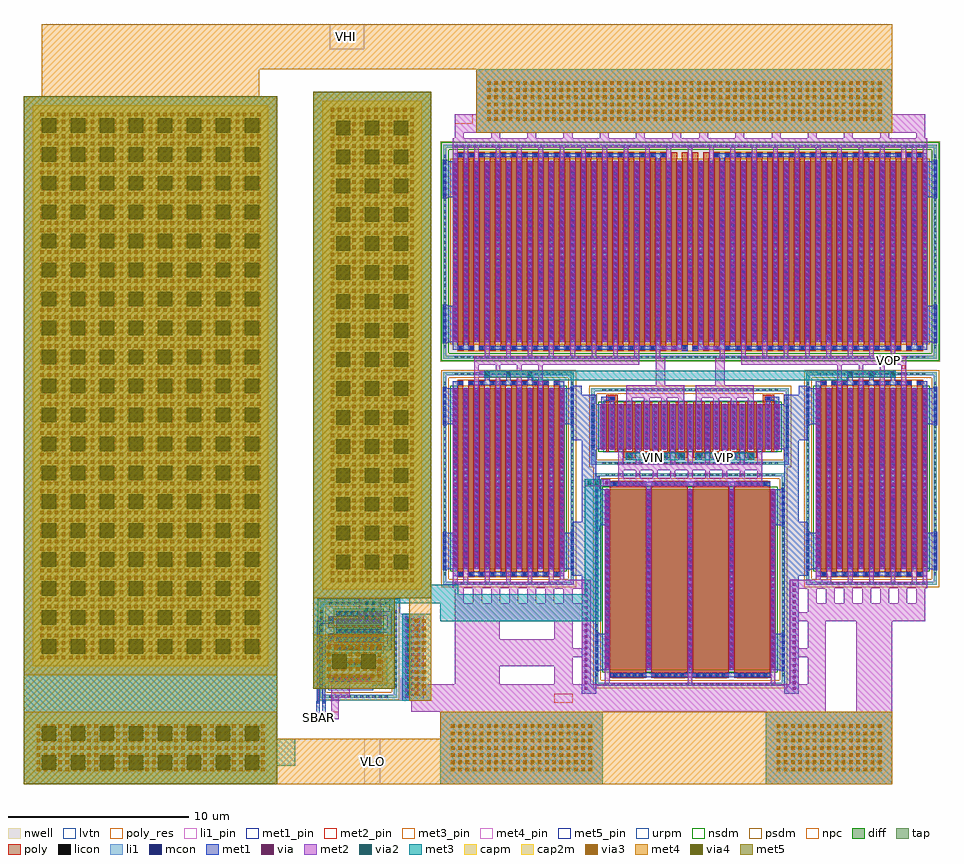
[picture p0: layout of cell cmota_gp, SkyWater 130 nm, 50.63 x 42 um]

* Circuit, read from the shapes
.subckt cmota_gp S SBAR VHI VIN VIP VLO VOP VREF
XM1 VLO S n1 VLO sky130_fd_pr__nfet_01v8 w=2.5 l=0.15 m=2
XM2 gated_iref_0/OUT SBAR n1 VLO sky130_fd_pr__nfet_01v8 w=2.5 l=0.15 m=2
XM3 VLO VLO VLO VLO sky130_fd_pr__nfet_01v8 w=10 l=0.3 m=4
XM4 n2 n2 VLO VLO sky130_fd_pr__nfet_01v8 w=10 l=0.3 m=8
XM5 VLO VLO VLO VLO sky130_fd_pr__nfet_01v8_lvt w=2.5 l=0.15 m=2
XM6 n3 gated_iref_0/OUT VLO VLO sky130_fd_pr__nfet_01v8 w=10 l=2 m=4
XM7 n3 VLO VLO VLO sky130_fd_pr__nfet_01v8_lvt w=2.5 l=0.15 m=2
XM8 n4 VIN n3 VLO sky130_fd_pr__nfet_01v8_lvt w=2.5 l=0.15 m=8
XM9 n5 VIP n3 VLO sky130_fd_pr__nfet_01v8_lvt w=2.5 l=0.15 m=8
XM10 VOP n2 VLO VLO sky130_fd_pr__nfet_01v8 w=10 l=0.3 m=8
XM11 VHI VHI VHI VHI sky130_fd_pr__pfet_01v8 w=10 l=0.3 m=4
XM12 n2 n4 VHI VHI sky130_fd_pr__pfet_01v8 w=10 l=0.3 m=16
XM13 n4 n4 VHI VHI sky130_fd_pr__pfet_01v8 w=10 l=0.3 m=4
XM14 n5 n5 VHI VHI sky130_fd_pr__pfet_01v8 w=10 l=0.3 m=4
XM15 VOP n5 VHI VHI sky130_fd_pr__pfet_01v8 w=10 l=0.3 m=16
XC16 VHI VLO sky130_fd_pr__cap_mim_m3_1 w=13 l=31
XC17 VLO VHI sky130_fd_pr__cap_mim_m3_2 w=13 l=31
XC18 VLO gated_iref_0/OUT sky130_fd_pr__cap_mim_m3_1 w=5.5 l=27
XC19 gated_iref_0/OUT VLO sky130_fd_pr__cap_mim_m3_2 w=5.5 l=27
XR20 VREF n1 VLO sky130_fd_pr__res_xhigh_po w=0.35 l=1.84
.ends

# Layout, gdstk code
from math import pi, radians
import gdstk
lib = gdstk.Library(unit=1e-6, precision=1e-09)
def R(c, l, rs):  # rectangles x0, y0, x1, y1
    for r in rs: c.add(gdstk.rectangle(r[:2], r[2:], *l))
def A(c, l, x, y, w, h, nx, ny, dx, dy):  # array of equal rectangles
    R(c, l, [(x+i*dx, y+j*dy, x+i*dx+w, y+j*dy+h) for i in range(nx) for j in range(ny)])
nwell = (64, 20)
diff = (65, 20)
tap = (65, 44)
poly_res = (66, 13)
poly = (66, 20)
licon = (66, 44)
li1_pin = (67, 16)
li1 = (67, 20)
mcon = (67, 44)
met1_pin = (68, 16)
met1 = (68, 20)
via = (68, 44)
met2_pin = (69, 16)
met2 = (69, 20)
via2 = (69, 44)
met3_pin = (70, 16)
met3 = (70, 20)
via3 = (70, 44)
met4_pin = (71, 16)
met4 = (71, 20)
via4 = (71, 44)
met5_pin = (72, 16)
met5 = (72, 20)
urpm = (79, 20)
capm = (89, 44)
nsdm = (93, 44)
psdm = (94, 20)
npc = (95, 20)
cap2m = (97, 44)
lvtn = (125, 44)

gated_iref = lib.new_cell('gated_iref')
R(gated_iref, diff, [(8.1,0.75,10.31,3.25)])
R(gated_iref, tap, [(5.51,-0.12,10.82,0.05), (5.51,0.05,5.68,3.95), (10.65,0.05,10.82,3.95), (5.51,3.95,10.82,4.12)])
R(gated_iref, poly_res, [(6.39,2.63,6.74,3.02), (7.22,2.63,7.57,3.02), (6.39,3.02,7.57,3.37)])
A(gated_iref, poly, 8.41, 0.64, 0.15, 2.74, 4, 1, 0.48, 0)
R(gated_iref, poly, [(8.41,0.31,9.04,0.64), (9.37,0.31,10,0.64), (6.39,0.53,6.74,3.02), (7.22,0.53,7.57,3.02), (6.39,3.02,7.57,3.37)])
A(gated_iref, licon, 6.09, -0.12, 0.17, 0.17, 13, 2, 0.34, 4.07)
A(gated_iref, licon, 5.51, 0.385, 0.17, 0.17, 1, 10, 0, 0.34)
A(gated_iref, licon, 10.65, 0.385, 0.17, 0.17, 1, 10, 0, 0.34)
A(gated_iref, licon, 8.16, 0.895, 0.17, 0.17, 5, 7, 0.48, 0.34)
R(gated_iref, licon, [(8.79,0.39,8.96,0.56), (9.75,0.39,9.92,0.56), (6.47,0.61,6.66,2.61), (7.3,0.61,7.49,2.61)])
R(gated_iref, li1_pin, [(5.34,4.31,6.62,4.4)])
A(gated_iref, li1, 9.12, 0.73, 0.17, 2.54, 3, 1, 0.48, 0)
R(gated_iref, li1, [(5.34,-0.29,10.99,0.05), (5.34,0.05,5.68,3.95), (10.65,0.05,10.99,3.95), (6.39,0.335,6.74,2.69), (7.22,0.335,8.33,0.59), (8.71,0.39,9.04,0.56), (9.67,0.39,10,0.56), (7.22,0.59,7.57,2.69), (8.16,0.59,8.33,3.27), (8.64,0.73,8.81,3.95), (5.34,3.95,10.99,4.29), (5.34,4.29,10.14,4.9)])
A(gated_iref, mcon, 6.48, 0.545, 0.17, 0.17, 1, 6, 0, 0.36)
A(gated_iref, mcon, 8.16, 0.835, 0.17, 0.17, 5, 7, 0.48, 0.36)
A(gated_iref, mcon, 5.495, 4.565, 0.17, 0.17, 13, 1, 0.36, 0)
R(gated_iref, mcon, [(8.79,0.39,8.96,0.56), (9.75,0.39,9.92,0.56)])
R(gated_iref, met1_pin, [(5.2,-0.31,5.32,-0.15), (5.2,0,5.32,0.16)])
A(gated_iref, met1, 8.13, 0.75, 0.23, 2.84, 3, 1, 0.96, 0)
R(gated_iref, met1, [(5.195,-0.315,9.77,-0.145), (9.6,-0.145,9.77,0.36), (5.19,-0.005,8.81,0.165), (8.64,0.165,8.81,0.36), (6.39,0.335,6.74,2.69), (8.64,0.36,9.04,0.59), (9.6,0.36,10,0.59), (9.555,0.745,9.815,3.25), (8.61,0.75,8.84,3.25), (8.13,3.59,10.28,3.79), (5.34,4.4,10.14,5.6)])
A(gated_iref, via, 6.49, 0.645, 0.15, 0.15, 1, 6, 0, 0.32)
A(gated_iref, via, 9.61, 0.965, 0.15, 0.15, 1, 7, 0, 0.32)
A(gated_iref, via, 5.585, 4.605, 0.15, 0.15, 14, 3, 0.32, 0.32)
R(gated_iref, met2_pin, [(5.5,0.5,5.79,1.5)])
R(gated_iref, met2, [(6.39,0.335,6.74,0.5), (5.5,0.5,6.74,1.5), (9.555,0.745,9.815,2), (6.39,1.5,6.74,2.69), (9.555,2,10.995,3.25), (5.34,4.4,10.14,5.6)])
A(gated_iref, via2, 9.85, 2.325, 0.2, 0.2, 3, 2, 0.4, 0.4)
A(gated_iref, via2, 5.64, 4.7, 0.2, 0.2, 11, 2, 0.4, 0.4)
R(gated_iref, met3, [(6,-0.5,39,4), (11,4,39,6), (5.34,4.4,10.14,6)])
A(gated_iref, via3, 6.6, 0.25, 0.2, 0.2, 5, 8, 0.4, 0.4)
A(gated_iref, via3, 11.9, 0.45, 0.2, 0.2, 66, 12, 0.4, 0.4)
A(gated_iref, via3, 5.64, 5.1, 0.2, 0.2, 11, 2, 0.4, 0.4)
R(gated_iref, met4, [(6,-0.5,9,4), (11,-0.5,39,4.8), (5.34,4.8,39,6)])
A(gated_iref, via4, 12.6, 0.75, 0.8, 0.8, 16, 3, 1.6, 1.6)
R(gated_iref, via4, [(7.1,0.55,7.9,1.35), (7.1,2.15,7.9,2.95)])
R(gated_iref, met5_pin, [(10.35,3.7,10.99,3.99)])
R(gated_iref, met5, [(6,-0.5,39,4), (11,4,39,6)])
R(gated_iref, urpm, [(5.93,0.33,8.03,2.82), (6.19,2.82,7.77,3.57)])
R(gated_iref, capm, [(11.5,0,38.5,5.5)])
R(gated_iref, nsdm, [(7.975,0.625,10.435,3.375)])
R(gated_iref, psdm, [(5.385,-0.245,10.945,0.175), (5.385,0.175,5.805,3.825), (6.28,0.175,7.68,3.825), (10.525,0.175,10.945,3.825), (5.385,3.825,10.945,4.245)])
R(gated_iref, npc, [(8.69,0.29,9.06,0.66), (9.65,0.29,10.02,0.66), (6.295,0.435,6.835,2.925), (7.125,0.435,7.665,2.925), (6.295,2.925,7.665,3.465)])
R(gated_iref, cap2m, [(11.5,0,38.5,5.5)])
gated_iref.add(gdstk.Label('IN', (5.645,1), layer=69, texttype=16))
gated_iref.add(gdstk.Label('VSUB', (5.98,4.355), layer=67, texttype=16))
gated_iref.add(gdstk.Label('OUT', (10.67,3.845), layer=72, texttype=16))
gated_iref.add(gdstk.Label('SBAR', (5.26,0.08), layer=68, texttype=16))
gated_iref.add(gdstk.Label('S', (5.26,-0.23), layer=68, texttype=16))

cmota_1_flat_1 = lib.new_cell('cmota_1_flat_1')
R(cmota_1_flat_1, nwell, [(-0.815,0.33,26.815,12.52)])
R(cmota_1_flat_1, diff, [(8.275,-16.7,17.725,-6.7), (-0.13,-11.12,6.06,-1.12), (19.935,-11.12,26.125,-1.12), (8.055,-4.5,17.945,-2), (-0.125,1.425,26.125,11.425)])
R(cmota_1_flat_1, tap, [(7.765,-17.57,18.235,-17.4), (7.765,-17.4,7.935,-6), (18.065,-17.4,18.235,-6), (-0.64,-11.99,6.57,-11.82), (19.425,-11.99,26.635,-11.82), (-0.64,-11.82,-0.47,-0.42), (6.4,-11.82,6.57,-0.42), (19.425,-11.82,19.595,-0.42), (26.465,-11.82,26.635,-0.42), (7.765,-6,18.235,-5.83), (7.545,-5.37,18.455,-5.2), (7.545,-5.2,7.715,-1.3), (18.285,-5.2,18.455,-1.3), (7.545,-1.3,18.455,-1.13), (-0.64,-0.42,6.57,-0.25), (19.425,-0.42,26.635,-0.25), (-0.635,0.51,26.635,0.68), (-0.635,0.68,-0.465,12.17), (26.465,0.68,26.635,12.17), (-0.635,12.17,26.635,12.34)])
A(cmota_1_flat_1, poly, 8.565, -17.14, 2, 10.88, 4, 1, 2.29, 0)
A(cmota_1_flat_1, poly, 0.145, -11.56, 0.33, 0.33, 10, 2, 0.59, 10.55)
A(cmota_1_flat_1, poly, 20.21, -11.56, 0.33, 0.33, 10, 2, 0.59, 10.55)
A(cmota_1_flat_1, poly, 0.16, -11.23, 0.3, 10.22, 10, 1, 0.59, 0)
A(cmota_1_flat_1, poly, 20.225, -11.23, 0.3, 10.22, 10, 1, 0.59, 0)
A(cmota_1_flat_1, poly, 9.325, -5, 0.63, 0.39, 8, 1, 0.96, 0)
A(cmota_1_flat_1, poly, 9.325, -4.61, 0.15, 2.74, 16, 1, 0.48, 0)
A(cmota_1_flat_1, poly, 0.15, 0.94, 0.33, 0.33, 44, 2, 0.59, 10.64)
A(cmota_1_flat_1, poly, 0.165, 1.27, 0.3, 10.31, 44, 1, 0.59, 0)
R(cmota_1_flat_1, poly, [(8.365,-4.63,8.515,-1.87), (8.845,-4.63,8.995,-1.87), (17.005,-4.63,17.155,-1.87), (17.485,-4.63,17.635,-1.87), (8.365,-1.87,8.995,-1.48), (17.005,-1.87,17.635,-1.48)])
A(cmota_1_flat_1, licon, 8.325, -17.57, 0.17, 0.17, 28, 2, 0.34, 11.57)
A(cmota_1_flat_1, licon, 8.8, -17.06, 0.17, 0.17, 5, 2, 0.34, 10.55)
A(cmota_1_flat_1, licon, 11.09, -17.06, 0.17, 0.17, 5, 2, 0.34, 10.55)
A(cmota_1_flat_1, licon, 13.38, -17.06, 0.17, 0.17, 5, 2, 0.34, 10.55)
A(cmota_1_flat_1, licon, 15.67, -17.06, 0.17, 0.17, 5, 2, 0.34, 10.55)
A(cmota_1_flat_1, licon, 7.765, -17.055, 0.17, 0.17, 1, 32, 0, 0.34)
A(cmota_1_flat_1, licon, 18.065, -17.055, 0.17, 0.17, 1, 32, 0, 0.34)
A(cmota_1_flat_1, licon, 8.335, -16.545, 0.17, 0.17, 5, 29, 2.29, 0.34)
A(cmota_1_flat_1, licon, -0.01, -11.99, 0.17, 0.17, 18, 2, 0.34, 11.57)
A(cmota_1_flat_1, licon, 20.055, -11.99, 0.17, 0.17, 18, 2, 0.34, 11.57)
A(cmota_1_flat_1, licon, 0.225, -11.48, 0.17, 0.17, 10, 2, 0.59, 10.55)
A(cmota_1_flat_1, licon, 20.29, -11.48, 0.17, 0.17, 10, 2, 0.59, 10.55)
A(cmota_1_flat_1, licon, -0.64, -11.475, 0.17, 0.17, 1, 32, 0, 0.34)
A(cmota_1_flat_1, licon, 6.4, -11.475, 0.17, 0.17, 1, 32, 0, 0.34)
A(cmota_1_flat_1, licon, 19.425, -11.475, 0.17, 0.17, 1, 32, 0, 0.34)
A(cmota_1_flat_1, licon, 26.465, -11.475, 0.17, 0.17, 1, 32, 0, 0.34)
A(cmota_1_flat_1, licon, -0.07, -10.965, 0.17, 0.17, 11, 29, 0.59, 0.34)
A(cmota_1_flat_1, licon, 19.995, -10.965, 0.17, 0.17, 11, 29, 0.59, 0.34)
A(cmota_1_flat_1, licon, 8.155, -5.37, 0.17, 0.17, 29, 2, 0.34, 4.07)
A(cmota_1_flat_1, licon, 9.555, -4.92, 0.17, 0.17, 8, 1, 0.96, 0)
A(cmota_1_flat_1, licon, 7.545, -4.865, 0.17, 0.17, 1, 10, 0, 0.34)
A(cmota_1_flat_1, licon, 18.285, -4.865, 0.17, 0.17, 1, 10, 0, 0.34)
A(cmota_1_flat_1, licon, 8.115, -4.355, 0.17, 0.17, 21, 7, 0.48, 0.34)
A(cmota_1_flat_1, licon, -0.005, 0.51, 0.17, 0.17, 77, 2, 0.34, 11.66)
A(cmota_1_flat_1, licon, 0.23, 1.02, 0.17, 0.17, 44, 1, 0.59, 0)
A(cmota_1_flat_1, licon, -0.635, 1.07, 0.17, 0.17, 1, 32, 0, 0.34)
A(cmota_1_flat_1, licon, 26.465, 1.07, 0.17, 0.17, 1, 32, 0, 0.34)
A(cmota_1_flat_1, licon, -0.065, 1.58, 0.17, 0.17, 45, 29, 0.59, 0.34)
A(cmota_1_flat_1, licon, 0.23, 11.66, 0.17, 0.17, 20, 1, 0.59, 0)
A(cmota_1_flat_1, licon, 14.39, 11.66, 0.17, 0.17, 20, 1, 0.59, 0)
R(cmota_1_flat_1, licon, [(8.595,-1.79,8.765,-1.62), (17.235,-1.79,17.405,-1.62)])
A(cmota_1_flat_1, li1, 8.565, -17.06, 2, 0.17, 4, 2, 2.29, 10.55)
A(cmota_1_flat_1, li1, 8.335, -16.72, 0.17, 10.04, 5, 1, 2.29, 0)
A(cmota_1_flat_1, li1, 0.145, -11.48, 0.33, 0.17, 10, 2, 0.59, 10.55)
A(cmota_1_flat_1, li1, 20.21, -11.48, 0.33, 0.17, 10, 2, 0.59, 10.55)
A(cmota_1_flat_1, li1, -0.07, -11.14, 0.17, 10.04, 11, 1, 0.59, 0)
A(cmota_1_flat_1, li1, 19.995, -11.14, 0.17, 10.04, 11, 1, 0.59, 0)
A(cmota_1_flat_1, li1, 9.475, -4.92, 0.33, 0.17, 8, 1, 0.96, 0)
A(cmota_1_flat_1, li1, 8.115, -4.52, 0.17, 2.54, 21, 1, 0.48, 0)
A(cmota_1_flat_1, li1, 0.15, 1.02, 0.33, 0.17, 44, 1, 0.59, 0)
A(cmota_1_flat_1, li1, -0.065, 1.405, 0.17, 10.04, 45, 1, 0.59, 0)
A(cmota_1_flat_1, li1, 0.15, 11.66, 0.33, 0.17, 20, 1, 0.59, 0)
A(cmota_1_flat_1, li1, 14.31, 11.66, 0.33, 0.17, 20, 1, 0.59, 0)
R(cmota_1_flat_1, li1, [(7.765,-17.57,18.235,-17.4), (7.765,-17.4,7.935,-6), (18.065,-17.4,18.235,-6), (-0.64,-11.99,6.57,-11.82), (19.425,-11.99,26.635,-11.82), (-0.64,-11.82,-0.47,-0.42), (6.4,-11.82,6.57,-0.42), (19.425,-11.82,19.595,-0.42), (26.465,-11.82,26.635,-0.42), (7.765,-6,18.235,-5.83), (7.545,-5.37,18.455,-5.2), (7.545,-5.2,7.715,-1.3), (18.285,-5.2,18.455,-1.3), (8.515,-1.79,8.845,-1.62), (17.155,-1.79,17.485,-1.62), (7.545,-1.3,18.455,-1.13), (-0.64,-0.42,6.57,-0.25), (19.425,-0.42,26.635,-0.25), (-0.635,0.51,26.635,0.68), (-0.635,0.68,-0.465,12.17), (26.465,0.68,26.635,12.17), (-0.635,12.17,26.635,12.34)])
A(cmota_1_flat_1, mcon, 8.76, -17.06, 0.17, 0.17, 5, 2, 0.36, 10.55)
A(cmota_1_flat_1, mcon, 11.05, -17.06, 0.17, 0.17, 5, 2, 0.36, 10.55)
A(cmota_1_flat_1, mcon, 13.34, -17.06, 0.17, 0.17, 5, 2, 0.36, 10.55)
A(cmota_1_flat_1, mcon, 15.63, -17.06, 0.17, 0.17, 5, 2, 0.36, 10.55)
A(cmota_1_flat_1, mcon, 7.765, -16.685, 0.17, 0.17, 1, 6, 0, 0.36)
A(cmota_1_flat_1, mcon, 18.065, -16.685, 0.17, 0.17, 1, 6, 0, 0.36)
A(cmota_1_flat_1, mcon, 8.335, -16.465, 0.17, 0.17, 5, 27, 2.29, 0.36)
A(cmota_1_flat_1, mcon, 0.225, -11.48, 0.17, 0.17, 10, 2, 0.59, 10.55)
A(cmota_1_flat_1, mcon, 20.29, -11.48, 0.17, 0.17, 10, 2, 0.59, 10.55)
A(cmota_1_flat_1, mcon, -0.64, -11.105, 0.17, 0.17, 1, 6, 0, 0.36)
A(cmota_1_flat_1, mcon, 6.4, -11.105, 0.17, 0.17, 1, 6, 0, 0.36)
A(cmota_1_flat_1, mcon, 19.425, -11.105, 0.17, 0.17, 1, 6, 0, 0.36)
A(cmota_1_flat_1, mcon, 26.465, -11.105, 0.17, 0.17, 1, 6, 0, 0.36)
A(cmota_1_flat_1, mcon, -0.07, -10.885, 0.17, 0.17, 11, 27, 0.59, 0.36)
A(cmota_1_flat_1, mcon, 19.995, -10.885, 0.17, 0.17, 11, 27, 0.59, 0.36)
A(cmota_1_flat_1, mcon, 7.765, -8.685, 0.17, 0.17, 1, 6, 0, 0.36)
A(cmota_1_flat_1, mcon, 18.065, -8.685, 0.17, 0.17, 1, 6, 0, 0.36)
A(cmota_1_flat_1, mcon, 9.555, -4.92, 0.17, 0.17, 8, 1, 0.96, 0)
A(cmota_1_flat_1, mcon, 7.545, -4.415, 0.17, 0.17, 1, 7, 0, 0.36)
A(cmota_1_flat_1, mcon, 8.115, -4.415, 0.17, 0.17, 21, 7, 0.48, 0.36)
A(cmota_1_flat_1, mcon, 18.285, -4.415, 0.17, 0.17, 1, 7, 0, 0.36)
A(cmota_1_flat_1, mcon, -0.64, -3.105, 0.17, 0.17, 1, 6, 0, 0.36)
A(cmota_1_flat_1, mcon, 6.4, -3.105, 0.17, 0.17, 1, 6, 0, 0.36)
A(cmota_1_flat_1, mcon, 19.425, -3.105, 0.17, 0.17, 1, 6, 0, 0.36)
A(cmota_1_flat_1, mcon, 26.465, -3.105, 0.17, 0.17, 1, 6, 0, 0.36)
A(cmota_1_flat_1, mcon, 0.23, 1.02, 0.17, 0.17, 44, 1, 0.59, 0)
A(cmota_1_flat_1, mcon, -0.635, 1.44, 0.17, 0.17, 1, 6, 0, 0.36)
A(cmota_1_flat_1, mcon, 26.465, 1.44, 0.17, 0.17, 1, 6, 0, 0.36)
A(cmota_1_flat_1, mcon, -0.065, 1.66, 0.17, 0.17, 45, 27, 0.59, 0.36)
A(cmota_1_flat_1, mcon, -0.635, 9.44, 0.17, 0.17, 1, 6, 0, 0.36)
A(cmota_1_flat_1, mcon, 26.465, 9.44, 0.17, 0.17, 1, 6, 0, 0.36)
A(cmota_1_flat_1, mcon, 0.23, 11.66, 0.17, 0.17, 20, 1, 0.59, 0)
A(cmota_1_flat_1, mcon, 14.39, 11.66, 0.17, 0.17, 20, 1, 0.59, 0)
R(cmota_1_flat_1, mcon, [(8.595,-1.79,8.765,-1.62), (17.235,-1.79,17.405,-1.62)])
R(cmota_1_flat_1, met1_pin, [(8.36,-6.54,8.485,-6.31)])
A(cmota_1_flat_1, met1, 10.58, -16.7, 0.26, 10, 3, 1, 2.29, 0)
A(cmota_1_flat_1, met1, 0.475, -11.12, 0.26, 10, 9, 1, 0.59, 0)
A(cmota_1_flat_1, met1, 20.54, -11.12, 0.26, 10, 9, 1, 0.59, 0)
A(cmota_1_flat_1, met1, 9.445, -5, 0.39, 0.28, 8, 1, 0.96, 0)
A(cmota_1_flat_1, met1, 8.515, -4.5, 0.33, 2.5, 19, 1, 0.48, 0)
A(cmota_1_flat_1, met1, 1.655, -0.73, 0.26, 0.55, 3, 1, 1.18, 0)
A(cmota_1_flat_1, met1, 21.72, -0.73, 0.26, 0.55, 3, 1, 1.18, 0)
A(cmota_1_flat_1, met1, 1.07, 1.425, 0.26, 10, 17, 1, 0.59, 0)
A(cmota_1_flat_1, met1, 11.69, 1.425, 0.26, 10, 4, 1, 1.18, 0)
A(cmota_1_flat_1, met1, 15.82, 1.425, 0.26, 10, 16, 1, 0.59, 0)
R(cmota_1_flat_1, met1, [(7,-18,7.8,-16.76), (18.2,-18,19,-16.76), (8.585,-17.09,17.415,-16.86), (7,-16.76,7.965,-16.7), (18.035,-16.76,19,-16.7), (7,-16.7,8.55,-14.7), (17.45,-16.7,19,-14.7), (7,-14.7,7.965,-14.64), (8.29,-14.7,8.55,-8.7), (17.45,-14.7,17.71,-8.7), (18.035,-14.7,19,-14.64), (7,-14.64,7.8,-11.5), (18.2,-14.64,19,-11.5), (-0.115,-11.51,0.455,-11.28), (0.755,-11.51,5.175,-11.28), (5.475,-11.51,6.045,-11.28), (19.95,-11.51,20.52,-11.28), (20.82,-11.51,25.24,-11.28), (25.54,-11.51,26.11,-11.28), (6.5,-11.5,7.8,-11.18), (18.2,-11.5,19.5,-11.18), (-0.115,-11.28,0.145,-11.12), (5.785,-11.28,6.045,-11.12), (19.95,-11.28,20.21,-11.12), (25.85,-11.28,26.11,-11.12), (-0.67,-11.18,-0.44,-11.12), (6.37,-11.18,7.8,-11.12), (18.2,-11.18,19.625,-11.12), (26.435,-11.18,26.665,-11.12), (-0.67,-11.12,0.145,-9.12), (5.785,-11.12,7.8,-9.12), (18.2,-11.12,20.21,-9.12), (25.85,-11.12,26.665,-9.12), (-0.67,-9.12,-0.44,-9.06), (-0.115,-9.12,0.145,-3.12), (5.785,-9.12,6.045,-3.12), (6.37,-9.12,7.8,-9.06), (18.2,-9.12,19.625,-9.06), (19.95,-9.12,20.21,-3.12), (25.85,-9.12,26.11,-3.12), (26.435,-9.12,26.665,-9.06), (6.5,-9.06,7.8,-9), (18.2,-9.06,19.5,-8.76), (6.5,-9,8,-8.7), (18.035,-8.76,19.5,-8.7), (6.5,-8.7,8.55,-8.5), (17.45,-8.7,19.5,-8.5), (7,-8.5,8.55,-6.7), (17.45,-8.5,19,-6.7), (7,-6.7,8,-6), (18.035,-6.7,19,-6.64), (18.2,-6.64,19,-4.5), (8.36,-6.54,17.415,-6.31), (7,-6,7.8,-4.5), (7,-4.5,8.365,-4), (17.635,-4.5,19,-4), (6.5,-4,8.365,-3.18), (17.635,-4,19.5,-3.18), (-0.67,-3.18,-0.44,-3.12), (6.37,-3.18,8.365,-3.12), (17.635,-3.18,19.625,-3.12), (26.435,-3.18,26.665,-3.12), (-0.67,-3.12,0.145,-1.12), (5.785,-3.12,8.365,-2), (17.635,-3.12,20.21,-2), (25.85,-3.12,26.665,-1.12), (5.785,-2,7.8,-1.5), (8.085,-2,8.315,-1.82), (8.565,-2,8.795,-1.82), (17.205,-2,17.435,-1.82), (17.685,-2,17.915,-1.82), (18.2,-2,20.21,-1.5), (8.085,-1.82,8.845,-1.59), (17.155,-1.82,17.915,-1.59), (5.785,-1.5,7,-1.12), (19,-1.5,20.21,-1.12), (-0.67,-1.12,-0.44,-1.06), (-0.115,-1.12,0.145,-0.96), (5.785,-1.12,6.045,-0.96), (6.37,-1.12,7,-1.06), (19,-1.12,19.625,-1.06), (19.95,-1.12,20.21,-0.96), (25.85,-1.12,26.11,-0.96), (26.435,-1.12,26.665,-1.06), (6.5,-1.06,7,-1), (19,-1.06,19.5,-1), (-0.115,-0.96,0.455,-0.73), (0.755,-0.96,5.175,-0.73), (5.475,-0.96,6.045,-0.73), (19.95,-0.96,20.52,-0.73), (20.82,-0.96,25.24,-0.73), (25.54,-0.96,26.11,-0.73), (12.54,0.905,12.87,0.99), (13.15,0.935,13.445,0.99), (-0.11,0.99,1.05,1.22), (1.35,0.99,12.87,1.22), (13.15,0.99,24.65,1.22), (24.95,0.99,26.11,1.22), (-0.11,1.22,0.15,1.425), (0.48,1.22,0.74,11.63), (11.1,1.22,11.36,11.63), (12.28,1.22,12.87,1.25), (13.46,1.22,13.72,11.425), (14.64,1.22,14.9,11.63), (25.26,1.22,25.52,11.63), (25.85,1.22,26.11,1.425), (12.28,1.25,12.54,11.425), (-0.665,1.365,-0.435,1.425), (26.435,1.365,26.665,1.425), (-0.665,1.425,0.15,3.425), (25.85,1.425,26.665,3.425), (-0.665,3.425,-0.435,3.485), (-0.11,3.425,0.15,9.425), (25.85,3.425,26.11,9.425), (26.435,3.425,26.665,3.485), (-0.665,9.365,-0.435,9.425), (26.435,9.365,26.665,9.425), (-0.665,9.425,0.15,11.425), (25.85,9.425,26.665,11.425), (-0.665,11.425,-0.435,11.485), (-0.11,11.425,0.15,11.63), (25.85,11.425,26.11,11.63), (26.435,11.425,26.665,11.485), (-0.11,11.63,1.05,11.86), (1.35,11.63,11.67,11.86), (14.33,11.63,24.65,11.86), (24.95,11.63,26.11,11.86)])
A(cmota_1_flat_1, via, 7.175, -17.805, 0.15, 0.15, 1, 19, 0, 0.32)
A(cmota_1_flat_1, via, 18.675, -17.805, 0.15, 0.15, 1, 19, 0, 0.32)
A(cmota_1_flat_1, via, 8.345, -16.575, 0.15, 0.15, 5, 31, 2.29, 0.32)
A(cmota_1_flat_1, via, -0.06, -10.995, 0.15, 0.15, 11, 31, 0.59, 0.32)
A(cmota_1_flat_1, via, 20.005, -10.995, 0.15, 0.15, 11, 31, 0.59, 0.32)
A(cmota_1_flat_1, via, 9.565, -4.935, 0.15, 0.15, 8, 1, 0.96, 0)
A(cmota_1_flat_1, via, 8.125, -4.445, 0.15, 0.15, 21, 8, 0.48, 0.32)
A(cmota_1_flat_1, via, 1.71, -0.415, 0.15, 0.15, 3, 1, 1.18, 0)
A(cmota_1_flat_1, via, 21.775, -0.415, 0.15, 0.15, 3, 1, 1.18, 0)
A(cmota_1_flat_1, via, -0.055, 1.55, 0.15, 0.15, 45, 31, 0.59, 0.32)
R(cmota_1_flat_1, met2_pin, [(5.5,-18.5,6.5,-18), (24.7,-0.05,24.9,0.15), (0,13.5,1,14)])
A(cmota_1_flat_1, met2, 8.29, -17.4, 0.26, 10.7, 3, 1, 4.58, 0)
A(cmota_1_flat_1, met2, 0, -13, 0.5, 0.83, 5, 1, 1, 0)
A(cmota_1_flat_1, met2, 5, -13, 0.5, 0.8, 3, 1, 1, 0)
A(cmota_1_flat_1, met2, 21.5, -13, 0.5, 0.83, 5, 1, 1, 0)
A(cmota_1_flat_1, met2, 0.475, -11.82, 0.26, 10.7, 4, 1, 1.18, 0)
A(cmota_1_flat_1, met2, 21.72, -11.82, 0.26, 10.7, 4, 1, 1.18, 0)
A(cmota_1_flat_1, met2, 1.065, -11.12, 0.26, 10.595, 4, 1, 1.18, 0)
A(cmota_1_flat_1, met2, 21.13, -11.12, 0.26, 11.29, 4, 1, 1.18, 0)
A(cmota_1_flat_1, met2, 9.025, -6.08, 0.27, 0.43, 9, 1, 0.96, 0)
A(cmota_1_flat_1, met2, 9.025, -5.3, 0.27, 0.8, 9, 1, 0.96, 0)
A(cmota_1_flat_1, met2, 9.475, -5.1, 0.33, 0.41, 8, 1, 0.96, 0)
A(cmota_1_flat_1, met2, 8.035, -4.5, 0.33, 2.5, 3, 1, 0.48, 0)
A(cmota_1_flat_1, met2, 9.475, -4.5, 0.33, 2.85, 8, 1, 0.96, 0)
A(cmota_1_flat_1, met2, 9.955, -4.5, 0.33, 2.5, 8, 1, 0.96, 0)
A(cmota_1_flat_1, met2, 21.695, -0.525, 0.305, 0.37, 3, 1, 1.18, 0)
A(cmota_1_flat_1, met2, 1.065, -0.155, 0.26, 0.325, 4, 1, 1.18, 0)
A(cmota_1_flat_1, met2, 1.66, 0.68, 0.26, 10.745, 8, 1, 1.18, 0)
A(cmota_1_flat_1, met2, 15.815, 0.68, 0.26, 0.745, 8, 1, 1.18, 0)
A(cmota_1_flat_1, met2, 11.1, 1.22, 0.26, 10.205, 4, 1, 1.18, 0)
A(cmota_1_flat_1, met2, -0.11, 1.425, 0.26, 10.745, 3, 1, 0.59, 0)
A(cmota_1_flat_1, met2, 2.25, 1.425, 0.26, 10.745, 9, 1, 1.18, 0)
A(cmota_1_flat_1, met2, 14.05, 1.425, 0.26, 10.745, 11, 1, 1.18, 0)
A(cmota_1_flat_1, met2, 15.815, 1.425, 0.265, 0.4, 9, 1, 1.18, 0)
A(cmota_1_flat_1, met2, 15.82, 1.825, 0.26, 9.6, 8, 1, 1.18, 0)
A(cmota_1_flat_1, met2, 0, 12.68, 0.5, 0.32, 7, 1, 2, 0)
A(cmota_1_flat_1, met2, 13.5, 12.68, 0.5, 0.32, 7, 1, 2, 0)
R(cmota_1_flat_1, met2, [(5.5,-19,20.5,-17.5), (5.5,-17.5,6.5,-16), (7,-17.5,7.5,-16), (8.29,-17.5,17.71,-17.4), (18.5,-17.5,19,-16), (19.5,-17.5,20.5,-16), (10.58,-16.7,10.84,-6.54), (15.16,-16.7,15.42,-6.54), (5.5,-16,7.5,-15.5), (18.5,-16,20.5,-15.5), (5.5,-15.5,6.5,-14), (7,-15.5,7.5,-14), (18.5,-15.5,19,-14), (19.5,-15.5,20.5,-14), (0,-14,7.5,-13), (18.5,-14,26,-13.5), (18.5,-13.5,19,-12.2), (19.5,-13.5,26,-13), (19.5,-13,20,-12.2), (20.5,-13,21,-12.2), (5,-12.2,7.5,-12.17), (18.5,-12.2,21,-12.17), (-0.115,-12.17,7.5,-11.82), (18.5,-12.17,26.11,-11.82), (-0.115,-11.82,0.145,-1.12), (5.195,-11.82,7.5,-11.7), (18.5,-11.82,20.8,-11.7), (25.85,-11.82,26.11,-1.12), (5.195,-11.7,5.455,-1.12), (5.785,-11.7,6.045,-1.12), (19.95,-11.7,20.21,-1.12), (20.54,-11.7,20.8,-1.12), (9.025,-6.54,16.975,-6.08), (9.025,-5.65,16.975,-5.3), (17.155,-4.5,17.485,-2), (17.635,-4.5,17.965,-2), (9.475,-1.65,12.685,-0.95), (13.315,-1.65,16.525,-0.95), (11.1,-0.95,11.62,0.525), (14.38,-0.95,14.9,0.525), (1.065,-0.525,4.865,-0.155), (1.065,0.17,10.18,0.68), (15.815,0.17,24.93,0.68), (11.1,0.525,11.36,0.99), (14.64,0.525,14.9,0.99), (11.1,0.99,12.54,1.22), (13.46,0.99,14.9,1.22), (12.87,1.42,13.13,12.17), (25.26,1.825,25.52,12.17), (-0.11,12.17,26.11,12.68), (0,13,26,14)])
A(cmota_1_flat_1, via2, 9.54, -4.99, 0.2, 0.2, 8, 1, 0.96, 0)
A(cmota_1_flat_1, via2, 1.685, -0.44, 0.2, 0.2, 3, 1, 1.18, 0)
A(cmota_1_flat_1, via2, 21.75, -0.44, 0.2, 0.2, 3, 1, 1.18, 0)
R(cmota_1_flat_1, met3_pin, [(9.5,-5.05,9.8,-4.75), (16.2,-5.05,16.5,-4.75)])
R(cmota_1_flat_1, met3, [(9.445,-5.1,12.715,-4.69), (13.285,-5.1,16.555,-4.69), (4.3,-0.68,21.695,-0.525), (1.62,-0.525,24.375,-0.155)])
R(cmota_1_flat_1, nsdm, [(8.15,-16.825,17.85,-6.575), (-0.255,-11.245,6.185,-0.995), (19.81,-11.245,26.25,-0.995), (7.93,-4.625,18.07,-1.875), (-0.76,0.385,26.76,0.805), (-0.76,0.805,-0.34,12.045), (26.34,0.805,26.76,12.045), (-0.76,12.045,26.76,12.465)])
R(cmota_1_flat_1, psdm, [(7.64,-17.695,18.36,-17.275), (7.64,-17.275,8.06,-6.125), (17.94,-17.275,18.36,-6.125), (-0.765,-12.115,6.695,-11.695), (19.3,-12.115,26.76,-11.695), (-0.765,-11.695,-0.345,-0.545), (6.275,-11.695,6.695,-0.545), (19.3,-11.695,19.72,-0.545), (26.34,-11.695,26.76,-0.545), (7.64,-6.125,18.36,-5.495), (7.42,-5.495,18.58,-5.075), (7.42,-5.075,7.84,-1.425), (18.16,-5.075,18.58,-1.425), (7.42,-1.425,18.58,-1.005), (-0.765,-0.545,6.695,-0.125), (19.3,-0.545,26.76,-0.125), (-0.25,1.3,26.25,11.55)])
A(cmota_1_flat_1, npc, 8.7, -17.16, 1.73, 0.37, 4, 2, 2.29, 10.55)
A(cmota_1_flat_1, npc, 9.455, -5.02, 0.37, 0.37, 8, 1, 0.96, 0)
R(cmota_1_flat_1, npc, [(0.125,-11.58,5.805,-11.21), (20.19,-11.58,25.87,-11.21), (8.495,-1.89,8.865,-1.52), (17.135,-1.89,17.505,-1.52), (0.125,-1.03,5.805,-0.66), (20.19,-1.03,25.87,-0.66), (0.13,0.92,25.87,1.29), (0.13,11.56,11.71,11.93), (14.29,11.56,25.87,11.93)])
R(cmota_1_flat_1, lvtn, [(8.185,-4.68,17.815,-1.82)])
cmota_1_flat_1.add(gdstk.Label('VHI', (0.5,13.75), layer=69, texttype=16))
cmota_1_flat_1.add(gdstk.Label('VLO', (6,-18.25), layer=69, texttype=16))
cmota_1_flat_1.add(gdstk.Label('VREF', (8.422,-6.425), layer=68, texttype=16))
cmota_1_flat_1.add(gdstk.Label('VOP', (24.8,0.05), layer=69, texttype=16))
cmota_1_flat_1.add(gdstk.Label('VIP', (16.35,-4.9), layer=70, texttype=16))
cmota_1_flat_1.add(gdstk.Label('VIN', (9.65,-4.9), layer=70, texttype=16))

cmota_gp = lib.new_cell('cmota_gp')
R(cmota_gp, met1_pin, [(-21.845,-35.42,-21.645,-35.22), (-21.505,-35.42,-21.305,-35.22)])
R(cmota_gp, met1, [(-21.845,-35.42,-21.645,-34.42), (-21.505,-35.42,-21.305,-34.42), (-6,-22.55,-5.6,-22.15)])
R(cmota_gp, via, [(-5.875,-22.425,-5.725,-22.275)])
R(cmota_gp, met2_pin, [(-21,-35.42,-20.6,-35.02), (9.3,-15.7,10.3,-15.5)])
R(cmota_gp, met2, [(-15,-39,-6,-35), (3,-39,10,-35), (-21,-35.42,-20.6,-34.215), (-16.6,-35,-8,-33.5), (8,-35,10,-29), (-14.2,-33.5,-11.7,-32.5), (-14.2,-32.5,-8,-31), (-14.2,-31,-11.7,-29), (-7,-22.55,-5.6,-22.15), (9.3,-15.7,10.3,-15.5), (-13,-3,10,0.5)])
A(cmota_gp, via2, -14.4, -38.3, 0.2, 0.2, 20, 7, 0.4, 0.4)
A(cmota_gp, via2, 3.6, -38.3, 0.2, 0.2, 15, 7, 0.4, 0.4)
A(cmota_gp, via2, -12.4, -2.35, 0.2, 0.2, 55, 6, 0.4, 0.4)
R(cmota_gp, via2, [(-6.85,-22.45,-6.65,-22.25), (-6.45,-22.45,-6.25,-22.25)])
R(cmota_gp, met3_pin, [(-3.3,-21,-3.1,-20.9), (0.6,-21,0.8,-20.9)])
R(cmota_gp, met3, [(-38,-39,-24,-38), (-15,-39,-6,-35), (3,-39,10,-35), (-38,-38,-23,-36.5), (-38,-36.5,-24,-1), (-15,-30,-6.1,-29), (-18,-29,-6.1,-28.5), (-18,-28.5,-14,-28), (-7,-28.5,-6.1,-22.15), (-3.3,-21,-3.1,-20.9), (0.6,-21,0.8,-20.9), (-13,-3,10,0.5)])
A(cmota_gp, via3, -37.3, -38.3, 0.2, 0.2, 32, 7, 0.4, 0.4)
A(cmota_gp, via3, -14.4, -38.3, 0.2, 0.2, 20, 7, 0.4, 0.4)
A(cmota_gp, via3, 3.6, -38.3, 0.2, 0.2, 15, 7, 0.4, 0.4)
A(cmota_gp, via3, -37.1, -32.1, 0.2, 0.2, 31, 76, 0.4, 0.4)
A(cmota_gp, via3, -12.4, -2.35, 0.2, 0.2, 55, 6, 0.4, 0.4)
R(cmota_gp, met4_pin, [(-19.2,-39,-18.3,-36.5), (-21.1,1.6,-19.2,3)])
R(cmota_gp, met4, [(-38,-39,10,-36.5), (-38,-36.5,-24,-35), (-15,-36.5,10,-35), (-38,-33,-24,-1), (-13,-3,10,0.5), (-37,-1,-25,0.5), (-37,0.5,10,3)])
A(cmota_gp, via4, -37, -38.2, 0.8, 0.8, 8, 2, 1.6, 1.6)
A(cmota_gp, via4, -37, -31.8, 0.8, 0.8, 8, 19, 1.6, 1.6)
R(cmota_gp, met5, [(-38,-39,-24,-1)])
R(cmota_gp, capm, [(-37.5,-32.5,-24.5,-1.5)])
R(cmota_gp, cap2m, [(-37.5,-32.5,-24.5,-1.5)])
cmota_gp.add(gdstk.Reference(gated_iref, (-21.5,-39.74), rotation=pi/2, x_reflection=True))
cmota_gp.add(gdstk.Reference(cmota_1_flat_1, (-14.18,-16)))
cmota_gp.add(gdstk.Label('VLO', (-18.75,-37.75), layer=71, texttype=16))
cmota_gp.add(gdstk.Label('VHI', (-20.15,2.3), layer=71, texttype=16))
cmota_gp.add(gdstk.Label('VIN', (-3.2,-20.95), layer=70, texttype=16))
cmota_gp.add(gdstk.Label('VIP', (0.7,-20.95), layer=70, texttype=16))
cmota_gp.add(gdstk.Label('VOP', (9.8,-15.6), layer=69, texttype=16))
cmota_gp.add(gdstk.Label('SBAR', (-21.745,-35.32), layer=68, texttype=16))
cmota_gp.add(gdstk.Label('S', (-21.405,-35.32), layer=68, texttype=16))
cmota_gp.add(gdstk.Label('VREF', (-20.8,-35.22), layer=69, texttype=16))

lib.write_gds('cmota_gp.gds')
